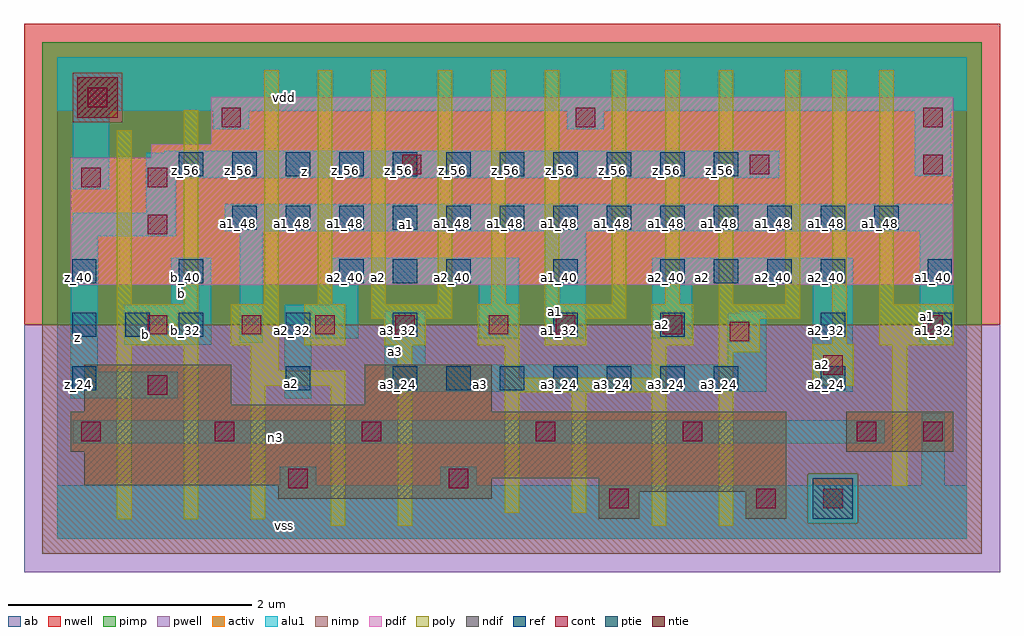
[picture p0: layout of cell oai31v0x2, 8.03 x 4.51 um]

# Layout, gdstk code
import gdstk
lib = gdstk.Library(unit=1e-6, precision=2.5e-09)
def R(c, l, rs):  # rectangles x0, y0, x1, y1
    for r in rs: c.add(gdstk.rectangle(r[:2], r[2:], *l))
def A(c, l, x, y, w, h, nx, ny, dx, dy):  # array of equal rectangles
    R(c, l, [(x+i*dx, y+j*dy, x+i*dx+w, y+j*dy+h) for i in range(nx) for j in range(ny)])
ndif = (3, 0)
pdif = (4, 0)
ntie = (5, 0)
ptie = (6, 0)
ref = (24, 0)
cont = (25, 0)
pwell = (41, 0)
nwell = (42, 0)
activ = (43, 0)
pimp = (44, 0)
nimp = (45, 0)
poly = (46, 0)
alu1 = (49, 0)
ab = (63, 0)

oai31v0x2 = lib.new_cell('oai31v0x2')
R(oai31v0x2, ndif, [(4.455,0.165,4.785,0.385), (5.665,0.165,5.995,0.385), (1.815,0.33,3.575,0.44), (4.455,0.385,5.995,0.495), (0.22,0.44,3.575,0.495), (0.22,0.495,5.995,0.715), (0.11,0.715,5.995,1.045), (6.49,0.715,7.37,1.045), (0.22,1.045,3.575,1.1), (0.22,1.1,1.43,1.43), (2.53,1.1,3.575,1.43)])
R(oai31v0x2, pdif, [(0.11,2.09,7.37,3.135), (0.77,3.135,7.37,3.245), (1.265,3.245,7.37,3.63)])
R(oai31v0x2, ntie, [(0.165,3.465,0.495,3.795)])
R(oai31v0x2, ptie, [(6.215,0.165,6.545,0.495)])
A(oai31v0x2, ref, 2.76, 1.22, 0.2, 0.2, 7, 1, 0.44, 0)
A(oai31v0x2, ref, 0.12, 1.66, 0.2, 0.2, 3, 1, 0.44, 0)
A(oai31v0x2, ref, 2.32, 2.1, 0.2, 0.2, 3, 1, 0.44, 0)
A(oai31v0x2, ref, 4.96, 2.1, 0.2, 0.2, 4, 1, 0.44, 0)
A(oai31v0x2, ref, 1.44, 2.54, 0.2, 0.2, 13, 1, 0.44, 0)
A(oai31v0x2, ref, 1, 2.98, 0.2, 0.2, 11, 1, 0.44, 0)
R(oai31v0x2, ref, [(0.12,1.22,0.32,1.42), (1.88,1.22,2.08,1.42), (6.28,1.22,6.48,1.42), (1.88,1.66,2.08,1.86), (2.76,1.66,2.96,1.86), (4.08,1.66,4.28,1.86), (4.96,1.66,5.16,1.86), (6.28,1.66,6.48,1.86), (7.16,1.66,7.36,1.86), (0.12,2.1,0.32,2.3), (1,2.1,1.2,2.3), (4.08,2.1,4.28,2.3), (7.16,2.1,7.36,2.3)])
R(oai31v0x2, cont, [(4.54,0.25,4.7,0.41), (5.75,0.25,5.91,0.41), (6.3,0.25,6.46,0.41), (1.9,0.415,2.06,0.575), (3.22,0.415,3.38,0.575), (0.195,0.8,0.355,0.96), (1.295,0.8,1.455,0.96), (2.505,0.8,2.665,0.96), (3.935,0.8,4.095,0.96), (5.145,0.8,5.305,0.96), (6.575,0.8,6.735,0.96), (7.125,0.8,7.285,0.96), (0.745,1.185,0.905,1.345), (6.3,1.35,6.46,1.51), (5.53,1.625,5.69,1.785), (0.745,1.68,0.905,1.84), (1.515,1.68,1.675,1.84), (2.12,1.68,2.28,1.84), (2.78,1.68,2.94,1.84), (3.55,1.68,3.71,1.84), (4.1,1.68,4.26,1.84), (4.98,1.68,5.14,1.84), (7.125,1.68,7.285,1.84), (0.745,2.505,0.905,2.665), (0.195,2.89,0.355,3.05), (0.745,2.89,0.905,3.05), (2.835,3,2.995,3.16), (5.695,3,5.855,3.16), (7.125,3,7.285,3.16), (1.35,3.385,1.51,3.545), (4.265,3.385,4.425,3.545), (7.125,3.385,7.285,3.545), (0.25,3.55,0.41,3.71)])
R(oai31v0x2, pwell, [(-0.275,-0.275,7.755,1.76)])
R(oai31v0x2, nwell, [(-0.275,1.76,7.755,4.235)])
R(oai31v0x2, activ, [(4.455,0.165,4.785,0.385), (5.665,0.165,5.995,0.385), (6.215,0.165,6.545,0.495), (1.815,0.33,3.575,0.44), (4.455,0.385,5.995,0.495), (0.22,0.44,3.575,0.495), (0.22,0.495,5.995,0.715), (0.11,0.715,5.995,1.045), (6.49,0.715,7.37,1.045), (0.22,1.045,3.575,1.1), (0.22,1.1,1.43,1.43), (2.53,1.1,3.575,1.43), (0.11,2.09,7.37,3.135), (0.77,3.135,7.37,3.245), (1.265,3.245,7.37,3.63), (0.165,3.465,0.495,3.795)])
R(oai31v0x2, pimp, [(6.175,0.125,6.585,0.535), (-0.125,1.76,7.605,3.425), (-0.125,3.425,0.125,3.835), (0.535,3.425,7.605,3.835), (-0.125,3.835,7.605,4.085)])
R(oai31v0x2, nimp, [(-0.125,-0.125,7.605,0.125), (-0.125,0.125,6.175,0.535), (6.585,0.125,7.605,0.535), (-0.125,0.535,7.605,1.76), (0.125,3.425,0.535,3.835)])
A(oai31v0x2, poly, 2.03, 1.59, 0.34, 0.34, 3, 1, 1.43, 0)
A(oai31v0x2, poly, 2.58, 1.81, 0.67, 0.12, 3, 1, 1.43, 0)
A(oai31v0x2, poly, 1.7, 1.93, 0.12, 1.925, 3, 1, 0.44, 0)
A(oai31v0x2, poly, 3.13, 1.93, 0.12, 1.925, 3, 1, 0.44, 0)
A(oai31v0x2, poly, 4.56, 1.93, 0.12, 1.925, 3, 1, 0.44, 0)
R(oai31v0x2, poly, [(2.25,0.105,2.37,1.26), (2.8,0.105,2.92,1.59), (4.89,0.105,5.01,1.205), (5.44,0.105,5.56,1.535), (0.49,0.16,0.61,1.59), (1.04,0.16,1.16,1.59), (1.59,0.16,1.71,1.26), (3.68,0.215,3.8,1.205), (4.23,0.215,4.35,1.205), (6.87,0.435,6.99,1.59), (3.68,1.205,5.01,1.325), (1.59,1.26,2.37,1.38), (6.21,1.26,6.55,1.6), (3.68,1.325,3.8,1.59), (4.89,1.325,5.01,1.59), (1.59,1.38,1.82,1.59), (5.44,1.535,5.78,1.81), (0.49,1.59,1.16,1.93), (1.425,1.59,1.82,1.93), (2.69,1.59,3.03,1.81), (4.01,1.59,4.35,1.81), (6.76,1.59,7.375,1.93), (6.375,1.6,6.495,3.855), (0.49,1.93,0.61,3.36), (1.04,1.93,1.16,3.525), (5.99,1.93,6.11,3.855), (6.76,1.93,6.88,3.855)])
R(oai31v0x2, alu1, [(0,0,7.48,0.44), (1.83,0.44,2.13,0.59), (3.15,0.44,3.45,0.59), (7.11,0.44,7.3,1.03), (0.125,0.785,6.805,0.975), (0.11,1.155,0.99,1.375), (1.87,1.155,2.09,1.65), (2.695,1.21,5.83,1.43), (6.215,1.21,6.545,2.09), (0.11,1.375,0.33,2.49), (2.695,1.43,3.025,1.87), (5.515,1.43,5.83,1.855), (0.55,1.595,1.265,1.925), (7.095,1.595,7.37,2.53), (1.5,1.61,1.69,2.53), (1.87,1.65,2.475,1.925), (3.465,1.65,3.795,2.09), (4.015,1.65,4.345,2.53), (4.895,1.65,5.225,2.09), (5.61,1.855,5.83,1.87), (0.935,1.925,1.265,2.31), (2.255,1.925,2.475,2.09), (2.255,2.09,3.795,2.31), (4.895,2.09,6.545,2.31), (0.11,2.49,0.975,2.585), (1.375,2.53,7.37,2.75), (0.125,2.585,0.975,2.68), (0.73,2.68,0.975,2.97), (0.125,2.875,0.425,3.52), (0.73,2.97,5.94,3.175), (7.055,2.985,7.355,3.52), (0.88,3.175,5.94,3.19), (1.28,3.37,1.58,3.52), (4.195,3.37,4.495,3.52), (0,3.52,7.48,3.96)])
R(oai31v0x2, ab, [(0,0,7.48,3.96)])
oai31v0x2.add(gdstk.Label('vss', (1.87,0.11), layer=49, texttype=0))
oai31v0x2.add(gdstk.Label('n3', (1.795,0.8325), layer=49, texttype=0))
oai31v0x2.add(gdstk.Label('a1', (7.1625,1.8275), layer=49, texttype=0))
oai31v0x2.add(gdstk.Label('a2', (6.2975,1.43), layer=49, texttype=0))
oai31v0x2.add(gdstk.Label('a3', (3.4775,1.265), layer=49, texttype=0))
oai31v0x2.add(gdstk.Label('a2', (4.9775,1.76), layer=49, texttype=0))
oai31v0x2.add(gdstk.Label('a2', (5.3075,2.145), layer=49, texttype=0))
oai31v0x2.add(gdstk.Label('a1', (4.0975,1.87), layer=49, texttype=0))
oai31v0x2.add(gdstk.Label('a3', (2.7775,1.54), layer=49, texttype=0))
oai31v0x2.add(gdstk.Label('a2', (1.925,1.2775), layer=49, texttype=0))
oai31v0x2.add(gdstk.Label('a2', (2.64,2.145), layer=49, texttype=0))
oai31v0x2.add(gdstk.Label('b', (0.7275,1.6775), layer=49, texttype=0))
oai31v0x2.add(gdstk.Label('b', (1.0175,2.02), layer=49, texttype=0))
oai31v0x2.add(gdstk.Label('z', (0.165,1.6525), layer=49, texttype=0))
oai31v0x2.add(gdstk.Label('a1', (2.8725,2.585), layer=49, texttype=0))
oai31v0x2.add(gdstk.Label('z', (2.0325,3.02), layer=49, texttype=0))
oai31v0x2.add(gdstk.Label('vdd', (1.87,3.63), layer=49, texttype=0))
oai31v0x2.add(gdstk.Label('a3_24', (5.45,1.27), layer=24, texttype=0))
oai31v0x2.add(gdstk.Label('a2_40', (5.45,2.15), layer=24, texttype=0))
oai31v0x2.add(gdstk.Label('a1_48', (5.45,2.59), layer=24, texttype=0))
oai31v0x2.add(gdstk.Label('z_56', (5.45,3.03), layer=24, texttype=0))
oai31v0x2.add(gdstk.Label('a2_40', (5.89,2.15), layer=24, texttype=0))
oai31v0x2.add(gdstk.Label('a1_48', (5.89,2.59), layer=24, texttype=0))
oai31v0x2.add(gdstk.Label('a2_24', (6.33,1.27), layer=24, texttype=0))
oai31v0x2.add(gdstk.Label('a2_32', (6.33,1.71), layer=24, texttype=0))
oai31v0x2.add(gdstk.Label('a2_40', (6.33,2.15), layer=24, texttype=0))
oai31v0x2.add(gdstk.Label('a1_48', (6.33,2.59), layer=24, texttype=0))
oai31v0x2.add(gdstk.Label('b_32', (0.61,1.71), layer=24, texttype=0))
oai31v0x2.add(gdstk.Label('a1_48', (6.77,2.59), layer=24, texttype=0))
oai31v0x2.add(gdstk.Label('a1_32', (7.21,1.71), layer=24, texttype=0))
oai31v0x2.add(gdstk.Label('a1_40', (7.21,2.15), layer=24, texttype=0))
oai31v0x2.add(gdstk.Label('b_32', (1.05,1.71), layer=24, texttype=0))
oai31v0x2.add(gdstk.Label('b_40', (1.05,2.15), layer=24, texttype=0))
oai31v0x2.add(gdstk.Label('z_56', (1.05,3.03), layer=24, texttype=0))
oai31v0x2.add(gdstk.Label('a1_48', (1.49,2.59), layer=24, texttype=0))
oai31v0x2.add(gdstk.Label('z_56', (1.49,3.03), layer=24, texttype=0))
oai31v0x2.add(gdstk.Label('a2_24', (1.93,1.27), layer=24, texttype=0))
oai31v0x2.add(gdstk.Label('a2_32', (1.93,1.71), layer=24, texttype=0))
oai31v0x2.add(gdstk.Label('a1_48', (1.93,2.59), layer=24, texttype=0))
oai31v0x2.add(gdstk.Label('z_56', (1.93,3.03), layer=24, texttype=0))
oai31v0x2.add(gdstk.Label('z_24', (0.17,1.27), layer=24, texttype=0))
oai31v0x2.add(gdstk.Label('z_32', (0.17,1.71), layer=24, texttype=0))
oai31v0x2.add(gdstk.Label('z_40', (0.17,2.15), layer=24, texttype=0))
oai31v0x2.add(gdstk.Label('a2_40', (2.37,2.15), layer=24, texttype=0))
oai31v0x2.add(gdstk.Label('a1_48', (2.37,2.59), layer=24, texttype=0))
oai31v0x2.add(gdstk.Label('z_56', (2.37,3.03), layer=24, texttype=0))
oai31v0x2.add(gdstk.Label('a3_24', (2.81,1.27), layer=24, texttype=0))
oai31v0x2.add(gdstk.Label('a3_32', (2.81,1.71), layer=24, texttype=0))
oai31v0x2.add(gdstk.Label('a2_40', (2.81,2.15), layer=24, texttype=0))
oai31v0x2.add(gdstk.Label('a1_48', (2.81,2.59), layer=24, texttype=0))
oai31v0x2.add(gdstk.Label('z_56', (2.81,3.03), layer=24, texttype=0))
oai31v0x2.add(gdstk.Label('a3_24', (3.25,1.27), layer=24, texttype=0))
oai31v0x2.add(gdstk.Label('a2_40', (3.25,2.15), layer=24, texttype=0))
oai31v0x2.add(gdstk.Label('a1_48', (3.25,2.59), layer=24, texttype=0))
oai31v0x2.add(gdstk.Label('z_56', (3.25,3.03), layer=24, texttype=0))
oai31v0x2.add(gdstk.Label('a3_24', (3.69,1.27), layer=24, texttype=0))
oai31v0x2.add(gdstk.Label('a1_48', (3.69,2.59), layer=24, texttype=0))
oai31v0x2.add(gdstk.Label('z_56', (3.69,3.03), layer=24, texttype=0))
oai31v0x2.add(gdstk.Label('a3_24', (4.13,1.27), layer=24, texttype=0))
oai31v0x2.add(gdstk.Label('a1_32', (4.13,1.71), layer=24, texttype=0))
oai31v0x2.add(gdstk.Label('a1_40', (4.13,2.15), layer=24, texttype=0))
oai31v0x2.add(gdstk.Label('a1_48', (4.13,2.59), layer=24, texttype=0))
oai31v0x2.add(gdstk.Label('z_56', (4.13,3.03), layer=24, texttype=0))
oai31v0x2.add(gdstk.Label('a3_24', (4.57,1.27), layer=24, texttype=0))
oai31v0x2.add(gdstk.Label('a1_48', (4.57,2.59), layer=24, texttype=0))
oai31v0x2.add(gdstk.Label('z_56', (4.57,3.03), layer=24, texttype=0))
oai31v0x2.add(gdstk.Label('a3_24', (5.01,1.27), layer=24, texttype=0))
oai31v0x2.add(gdstk.Label('a2_32', (5.01,1.71), layer=24, texttype=0))
oai31v0x2.add(gdstk.Label('a2_40', (5.01,2.15), layer=24, texttype=0))
oai31v0x2.add(gdstk.Label('a1_48', (5.01,2.59), layer=24, texttype=0))
oai31v0x2.add(gdstk.Label('z_56', (5.01,3.03), layer=24, texttype=0))

lib.write_gds('oai31v0x2.gds')
